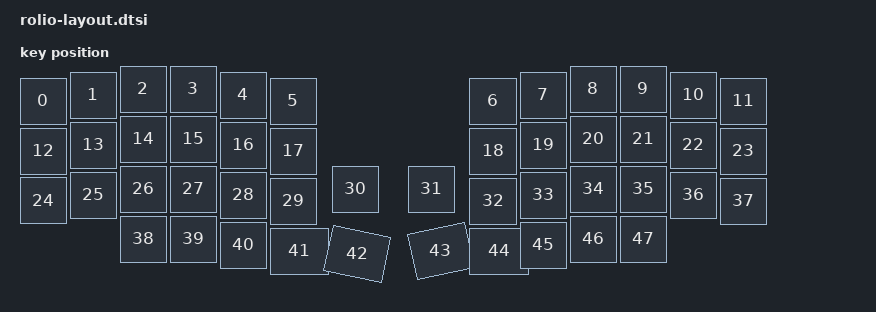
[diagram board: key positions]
/*
 * Physical layout for the Rolio, 48 positions (46 keys + 2 inner extras).
 *
 * Taken from MickiusMousius/Rolio2Firmware branch `main`, which is the branch
 * whose matrix matches this hardware. Verified empirically against the board
 * with a supermatrix diagnostic on 2026-08-21: the left half has SEVEN columns
 * (P1.02 P0.07 P0.04 P1.09 P0.05 P1.04 P0.09) over four rows
 * (P0.31 P0.29 P0.02 P0.28), giving 24 positions per half.
 *
 * There are only SIX columns of keycaps. The seventh matrix column carries
 * just two things per half: the roller's push switch (row 2) and the wide
 * inner thumb key (row 3).
 *
 * Left half:  0-5 / 12-17 / 24-29 letters, 30 roller click,
 *             38-41 bottom row of four, 42 wide inner thumb.
 * Right half mirrors it: 6-11 / 18-23 / 32-37 letters, 31 roller click,
 *             43 wide inner thumb, 44-47 bottom row of four.
 */

#include <physical_layouts.dtsi>
#include "position_map.dtsi"

/ {
    rolio_layout: rolio_layout {
        compatible = "zmk,physical-layout";
        display-name = "Rolio";

        keys  //                     w   h    x    y     rot    rx    ry
            = <&key_physical_attrs 100 100    0   24       0     0     0>
            , <&key_physical_attrs 100 100  100   12       0     0     0>
            , <&key_physical_attrs 100 100  200    0       0     0     0>
            , <&key_physical_attrs 100 100  300    0       0     0     0>
            , <&key_physical_attrs 100 100  400   12       0     0     0>
            , <&key_physical_attrs 100 100  500   24       0     0     0>
            , <&key_physical_attrs 100 100  900   24       0     0     0>
            , <&key_physical_attrs 100 100 1000   12       0     0     0>
            , <&key_physical_attrs 100 100 1100    0       0     0     0>
            , <&key_physical_attrs 100 100 1200    0       0     0     0>
            , <&key_physical_attrs 100 100 1300   12       0     0     0>
            , <&key_physical_attrs 100 100 1400   24       0     0     0>
            , <&key_physical_attrs 100 100    0  124       0     0     0>
            , <&key_physical_attrs 100 100  100  112       0     0     0>
            , <&key_physical_attrs 100 100  200  100       0     0     0>
            , <&key_physical_attrs 100 100  300  100       0     0     0>
            , <&key_physical_attrs 100 100  400  112       0     0     0>
            , <&key_physical_attrs 100 100  500  124       0     0     0>
            , <&key_physical_attrs 100 100  900  124       0     0     0>
            , <&key_physical_attrs 100 100 1000  112       0     0     0>
            , <&key_physical_attrs 100 100 1100  100       0     0     0>
            , <&key_physical_attrs 100 100 1200  100       0     0     0>
            , <&key_physical_attrs 100 100 1300  112       0     0     0>
            , <&key_physical_attrs 100 100 1400  124       0     0     0>
            , <&key_physical_attrs 100 100    0  223       0     0     0>
            , <&key_physical_attrs 100 100  100  212       0     0     0>
            , <&key_physical_attrs 100 100  200  200       0     0     0>
            , <&key_physical_attrs 100 100  300  200       0     0     0>
            , <&key_physical_attrs 100 100  400  212       0     0     0>
            , <&key_physical_attrs 100 100  500  224       0     0     0>
            , <&key_physical_attrs 100 100  624  200       0     0     0>
            , <&key_physical_attrs 100 100  776  200       0     0     0>
            , <&key_physical_attrs 100 100  900  224       0     0     0>
            , <&key_physical_attrs 100 100 1000  212       0     0     0>
            , <&key_physical_attrs 100 100 1100  200       0     0     0>
            , <&key_physical_attrs 100 100 1200  200       0     0     0>
            , <&key_physical_attrs 100 100 1300  212       0     0     0>
            , <&key_physical_attrs 100 100 1400  224       0     0     0>
            , <&key_physical_attrs 100 100  200  300       0     0     0>
            , <&key_physical_attrs 100 100  300  300       0     0     0>
            , <&key_physical_attrs 100 100  400  312       0     0     0>
            , <&key_physical_attrs 125 100  500  324       0     0     0>
            , <&key_physical_attrs 125 100  624  312    1200   600   333>
            , <&key_physical_attrs 125 100  776  312 (-1200)   900   333>
            , <&key_physical_attrs 125 100  900  324       0     0     0>
            , <&key_physical_attrs 100 100 1000  312       0     0     0>
            , <&key_physical_attrs 100 100 1100  300       0     0     0>
            , <&key_physical_attrs 100 100 1200  300       0     0     0>
            ;
    };
};

&layout_rolio_position_map  {
    layout_rolio_map: layout_rolio {
        physical-layout = <&rolio_layout>;
        positions
            = < 0  1  2  3  4  5         6  7  8  9 10 11>
            , <12 13 14 15 16 17        18 19 20 21 22 23>
            , <24 25 26 27 28 29 30  31 32 33 34 35 36 37>
            , <      38 39 40 41 42  43 44 45 46 47      >;
    };
};
